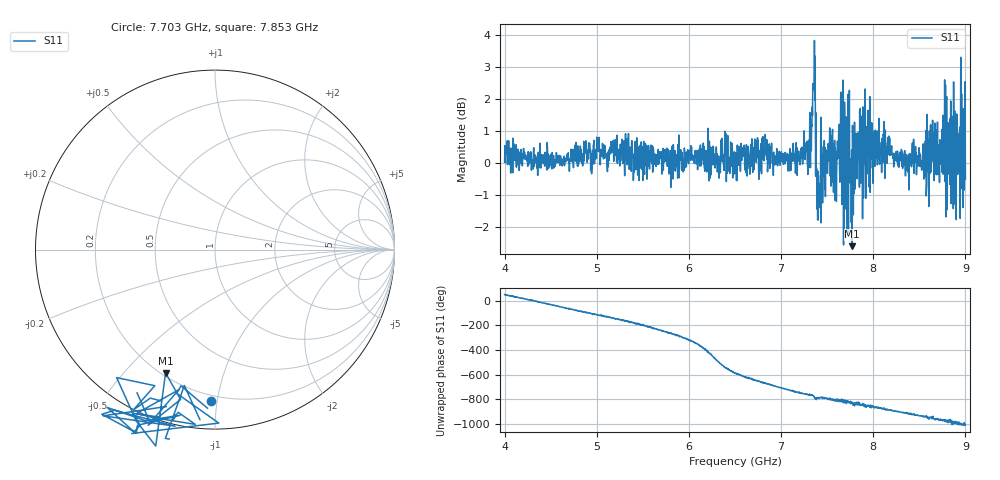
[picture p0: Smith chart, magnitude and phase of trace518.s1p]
! Created with skrf 1.8.0 (http://scikit-rf.org).
# Hz S RI R 50.0
!freq ReS11 ImS11
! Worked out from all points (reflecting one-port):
!   1601 points, 4 GHz to 9 GHz, reference 50 ohm
!   lowest |S11| = -2.6 dB at 7.772 GHz (marker M1), VSWR 6.71, Z = 10.8 - j32.7 ohm
!   phase of S11 starts at 48 deg and turns -1054 deg over the sweep
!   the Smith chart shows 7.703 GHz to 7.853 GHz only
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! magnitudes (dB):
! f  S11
! 4 GHz  0.0
! 4.625 GHz  -0.1
! 5.25 GHz  -0.1
! 5.875 GHz  0.2
! 6.5 GHz  0.3
! 7.125 GHz  0.3
! 7.294 GHz  -0.2
! 7.316 GHz  0.3
! 7.347 GHz  2.3
! 7.369 GHz  3.3
! 7.397 GHz  -1.8
! 7.409 GHz  -1.4
! 7.509 GHz  0.2
! 7.588 GHz  0.5
! 7.631 GHz  1.2
! 7.75 GHz  -0.6
! 7.772 GHz  -2.6
! 7.834 GHz  0.9
! 7.875 GHz  0.5
! 7.928 GHz  -0.2
! 7.941 GHz  1.1
! 8.153 GHz  0.6
! 8.375 GHz  -0.2
! 8.725 GHz  0.6
! 8.788 GHz  -0.6
! 8.875 GHz  0.7
! 8.972 GHz  0.3
! 9 GHz  -0.5
